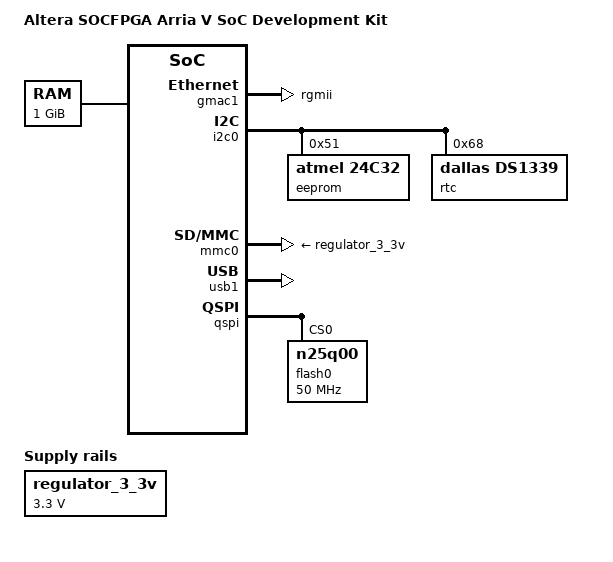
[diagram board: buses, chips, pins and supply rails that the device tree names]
/*
 *  Copyright (C) 2013 Altera Corporation <www.altera.com>
 *
 * SPDX-License-Identifier:	GPL-2.0+
 */

#include "socfpga_arria5.dtsi"

/ {
	model = "Altera SOCFPGA Arria V SoC Development Kit";
	compatible = "altr,socfpga-arria5", "altr,socfpga";

	chosen {
		bootargs = "console=ttyS0,115200";
	};

	memory {
		name = "memory";
		device_type = "memory";
		reg = <0x0 0x40000000>; /* 1GB */
	};

	aliases {
		/* this allow the ethaddr uboot environmnet variable contents
		* to be added to the gmac1 device tree blob.
		*/
		ethernet0 = &gmac1;

		spi0 = "/spi@ff705000";		/* QSPI */
		spi1 = "/spi@fff00000";
		spi2 = "/spi@fff01000";
	};

	regulator_3_3v: 3-3-v-regulator {
		compatible = "regulator-fixed";
		regulator-name = "3.3V";
		regulator-min-microvolt = <3300000>;
		regulator-max-microvolt = <3300000>;
	};
};

&gmac1 {
	status = "okay";
	phy-mode = "rgmii";

	rxd0-skew-ps = <0>;
	rxd1-skew-ps = <0>;
	rxd2-skew-ps = <0>;
	rxd3-skew-ps = <0>;
	txen-skew-ps = <0>;
	txc-skew-ps = <2600>;
	rxdv-skew-ps = <0>;
	rxc-skew-ps = <2000>;
};

&i2c0 {
	status = "okay";

	eeprom@51 {
		compatible = "atmel,24c32";
		reg = <0x51>;
		pagesize = <32>;
	};

	rtc@68 {
		compatible = "dallas,ds1339";
		reg = <0x68>;
	};
};

&mmc0 {
	vmmc-supply = <&regulator_3_3v>;
	vqmmc-supply = <&regulator_3_3v>;
};

&usb1 {
	status = "okay";
};

&qspi {
	status = "okay";

	flash0: n25q00@0 {
		#address-cells = <1>;
		#size-cells = <1>;
		compatible = "n25q00";
		reg = <0>;      /* chip select */
		spi-max-frequency = <50000000>;
		m25p,fast-read;
		page-size = <256>;
		block-size = <16>; /* 2^16, 64KB */
		read-delay = <4>;  /* delay value in read data capture register */
		tshsl-ns = <50>;
		tsd2d-ns = <50>;
		tchsh-ns = <4>;
		tslch-ns = <4>;
	};
};
